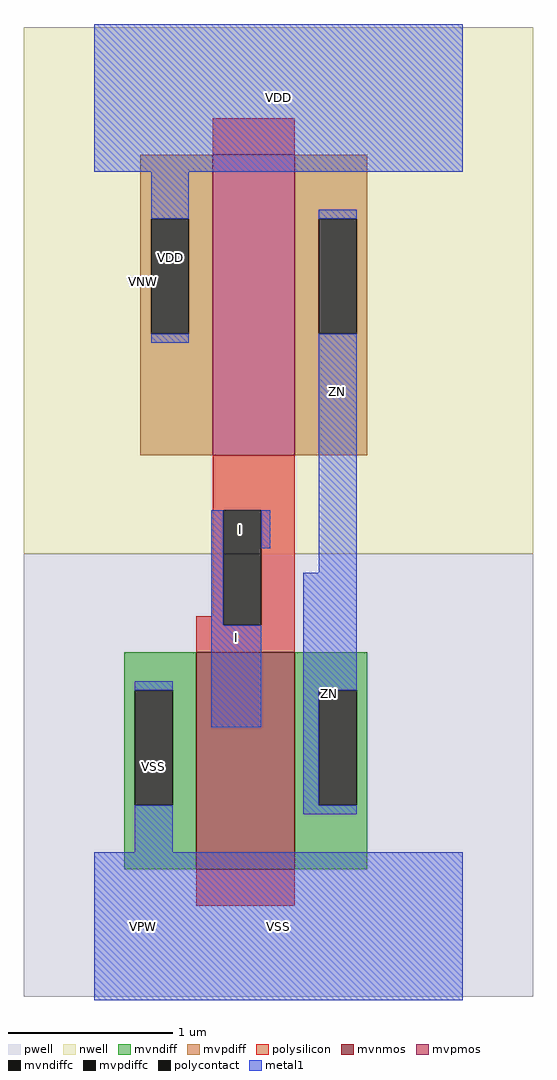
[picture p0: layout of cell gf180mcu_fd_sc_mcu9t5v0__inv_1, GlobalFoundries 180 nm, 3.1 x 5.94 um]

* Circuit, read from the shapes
.subckt gf180mcu_fd_sc_mcu9t5v0__inv_1 I ZN VDD VNW VPW VSS
XM1 ZN I VSS VPW nfet_06v0 w=1.32u l=0.6u
XM2 ZN I VDD VNW pfet_06v0 w=1.83u l=0.5u
.ends

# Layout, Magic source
magic
tech gf180mcuD
magscale 1 10
<< nwell >>
rect -86 453 534 1094
<< pwell >>
rect -86 -86 534 453
<< mvnmos >>
rect 124 69 244 333
<< mvpmos >>
rect 144 573 244 939
<< mvndiff >>
rect 36 287 124 333
rect 36 147 49 287
rect 95 147 124 287
rect 36 69 124 147
rect 244 287 332 333
rect 244 147 273 287
rect 319 147 332 287
rect 244 69 332 147
<< mvpdiff >>
rect 56 861 144 939
rect 56 721 69 861
rect 115 721 144 861
rect 56 573 144 721
rect 244 861 332 939
rect 244 721 273 861
rect 319 721 332 861
rect 244 573 332 721
<< mvndiffc >>
rect 49 147 95 287
rect 273 147 319 287
<< mvpdiffc >>
rect 69 721 115 861
rect 273 721 319 861
<< polysilicon >>
rect 144 939 244 983
rect 144 506 244 573
rect 144 377 157 506
rect 124 366 157 377
rect 203 366 244 506
rect 124 333 244 366
rect 124 25 244 69
<< polycontact >>
rect 157 366 203 506
<< metal1 >>
rect 0 918 448 1098
rect 69 861 115 918
rect 69 710 115 721
rect 273 861 319 872
rect 142 366 157 506
rect 203 460 214 506
rect 273 430 319 721
rect 49 287 95 298
rect 142 242 203 366
rect 254 287 319 430
rect 49 90 95 147
rect 254 147 273 287
rect 254 136 319 147
rect 0 -90 448 90
<< labels >>
flabel metal1 s 142 460 214 506 0 FreeSans 200 0 0 0 I
port 1 nsew default input
flabel metal1 s 0 918 448 1098 0 FreeSans 200 0 0 0 VDD
port 3 nsew power bidirectional abutment
flabel metal1 s 49 90 95 298 0 FreeSans 200 0 0 0 VSS
port 6 nsew ground bidirectional abutment
flabel metal1 s 273 430 319 872 0 FreeSans 200 0 0 0 ZN
port 2 nsew default output
flabel nwell s 10 734 110 834 0 FreeSans 400 0 0 0 VNW
port 4 nsew power bidirectional
flabel pwell s 10 -50 110 50 0 FreeSans 400 0 0 0 VPW
port 5 nsew ground bidirectional
rlabel metal1 s 142 242 203 460 1 I
port 1 nsew default input
rlabel metal1 s 254 136 319 430 1 ZN
port 2 nsew default output
rlabel metal1 s 69 710 115 918 1 VDD
port 3 nsew power bidirectional abutment
rlabel metal1 s 0 -90 448 90 1 VSS
port 6 nsew ground bidirectional abutment
<< properties >>
string FIXED_BBOX 0 0 448 1008
string GDS_END 871160
string GDS_FILE $PDKPATH/libs.ref/gf180mcu_fd_sc_mcu9t5v0/gds/gf180mcu_fd_sc_mcu9t5v0.gds
string GDS_START 868802
string LEFclass core
string LEFsite GF018hv5v_green_sc9
string LEFsymmetry X Y
string MASKHINTS_DUALGATE -56 1063 504 1064 -56 987 64 1063 324 987 504 1063 -56 525 8 987 380 525 504 987 -56 381 44 525 324 381 504 525 -56 21 -12 381 380 21 504 381 -56 -55 44 21 324 -55 504 21 -56 -56 504 -55
string MASKHINTS_NPLUS -40 379 488 453 -40 365 78 379 290 365 488 379 -40 37 4 365 364 37 488 365 -40 23 78 37 290 23 488 37 -40 -40 488 23
string MASKHINTS_PPLUS -40 985 488 1048 -40 971 98 985 290 971 488 985 -40 541 24 971 364 541 488 971 -40 527 98 541 290 527 488 541 -40 453 488 527
<< end >>
